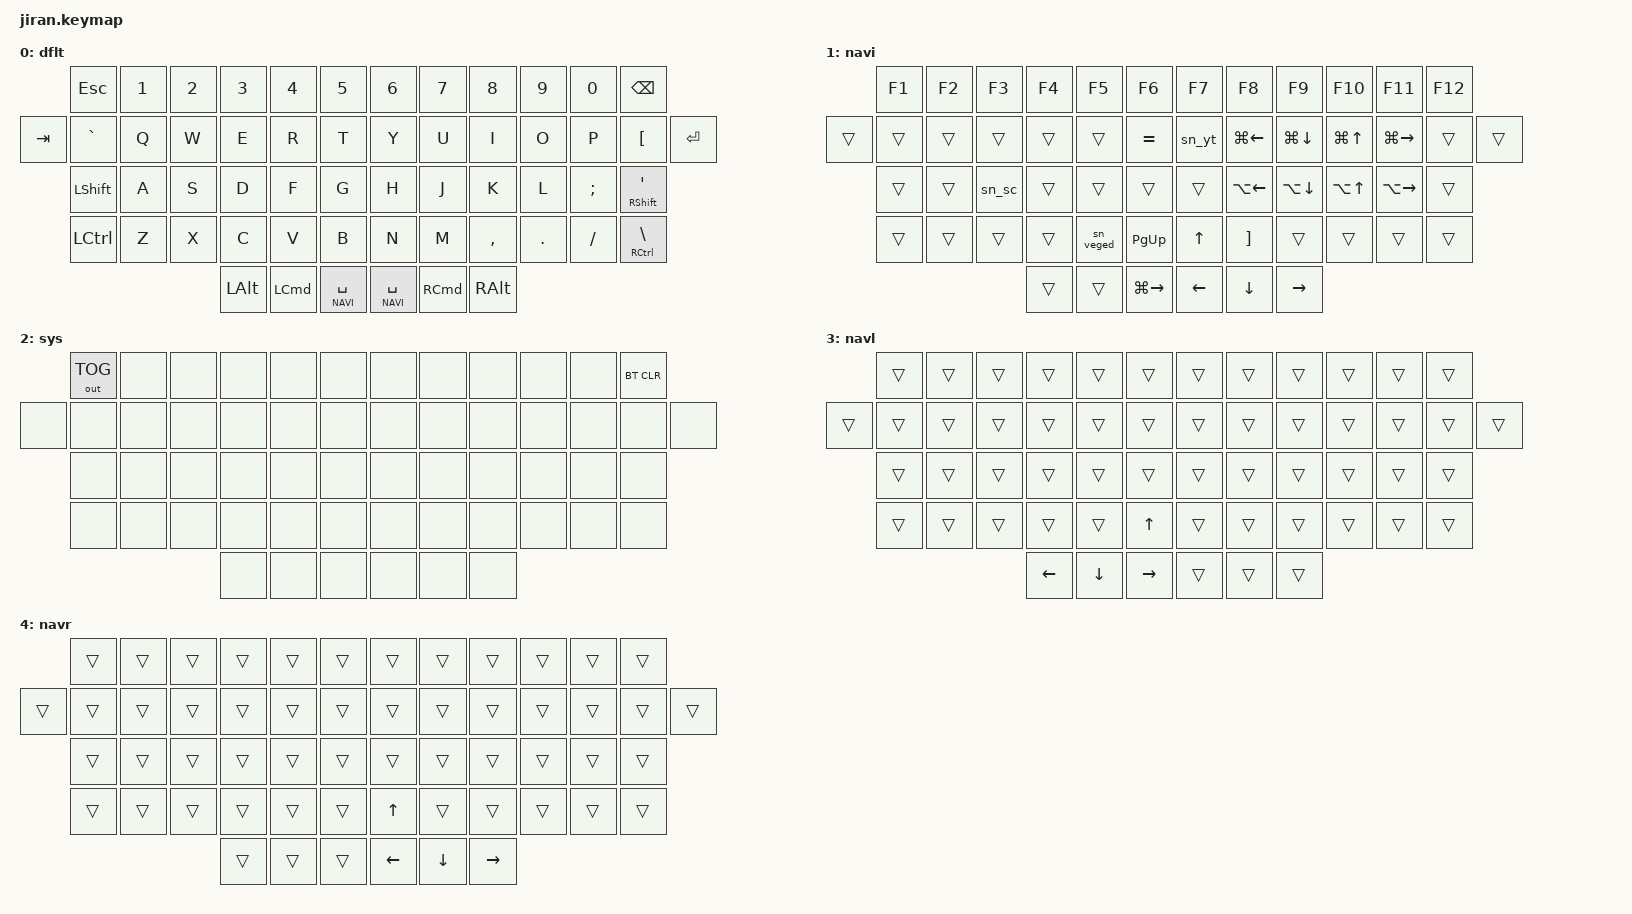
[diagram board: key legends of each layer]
/*
 * Copyright (c) 2021 The ZMK Contributors
 *
 * SPDX-License-Identifier: MIT
 */

#include <behaviors.dtsi>
#include <dt-bindings/zmk/keys.h>
#include <dt-bindings/zmk/bt.h>
#include <dt-bindings/zmk/outputs.h>
#include "zmk-helpers/helper.h"

#define ___ &trans

// Зажатый пробел для панорамы в графических редакторах: тап и сразу повторное
// зажатие в течение окна дают настоящий зажатый Space вместо слоя NAVI.
// Заодно появляется автоповтор пробела. Окно считается от нажатия до нажатия,
// якорь сбрасывается любой другой клавишей, поэтому печать между пробелами безопасна.
// 280 — по замерам: жест панорамы укладывается в ~300, а заход в слой
// сразу после пробела начинается с ~315; запас отдан слою — его сбой портит текст.
&lt {
    quick-tap-ms = <280>;
};

#define DFLT 0
#define NAVI 1
#define SYS  2
#define NAVL 3
#define NAVR 4

ZMK_COMBO(del, &kp DEL, 10 11, ALL)

ZMK_COMBO(en, &kp F13, 4 5, ALL)
ZMK_COMBO(ru, &kp F14, 6 7, ALL)
ZMK_COMBO(caps, &kp CAPS, 5 6, ALL)

ZMK_COMBO(voldn, &kp C_VOL_DN, 17 18, ALL)
ZMK_COMBO(volup, &kp C_VOL_UP, 19 20, ALL)
ZMK_COMBO(mute, &kp K_MUTE, 18 19, ALL)

ZMK_COMBO(bridn, &kp C_BRI_DN, 30 31, ALL)
ZMK_COMBO(briup, &kp C_BRI_UP, 32 33, ALL)

ZMK_COMBO(prev, &kp C_PREV, 42 43, ALL)
ZMK_COMBO(next, &kp C_NEXT, 44 45, ALL)
ZMK_COMBO(plpa, &kp C_PLAY_PAUSE, 43 44, ALL)

ZMK_COMBO(mic, &kp F15, 0 1, ALL)
ZMK_COMBO(cam, &kp F16, 0 13, ALL)
ZMK_COMBO(miccam, &kp F17, 0 1 13, ALL)

// Системный слой: держать Space + Tab + Enter, слой жив только пока держишь.
// Space можно отпустить сразу после срабатывания — дальше слой держат два мизинца,
// а нужную клавишу жмёшь свободным указательным.
// Комбо — momentary, а не toggle: застрять в SYS физически нельзя.
// Ограничено слоем NAVI, поэтому на дефолтном слое Tab и Enter не задерживаются.
ZMK_COMBO(sys, &mo SYS, 12 25, NAVI, 300)

// Тройной аккорд кластера большого пальца (пробел+⌘+⌥ одной половинки)
// защёлкивает на ней стрелочный режим, тот же аккорд снимает.
// Окно 50 мс: три пальца жмут одновременно, а длиннее нельзя — позиции
// участвуют в комбо, и окно задерживает их одиночные нажатия (⌘-клик!).
// При уже зажатом пробеле аккорд не собирается: его нажатие старее окна.
ZMK_COMBO(navl, &tog NAVL, 50 51 52, ALL, 50)
ZMK_COMBO(navr, &tog NAVR, 53 54 55, ALL, 50)

ZMK_COMBO(nhome, &kp LG(LEFT), 53 54, NAVI)
ZMK_COMBO(nend, &kp LG(RIGHT), 54 55, NAVI)
ZMK_COMBO(npgup, &kp PG_UP, 44 53, NAVI)
ZMK_COMBO(npgdn, &kp PG_DN, 44 55, NAVI)

// Сниппеты: держать Space (NAVI) + буква-мнемоника. Макрос сам ставит EN (F13) и оставляет её.
// 40 мс — измеренная смена раскладки (11–23 мс) с запасом на интервал BLE.
// wait 10 между буквами: при 0 сдвоенные буквы слипаются.
#define SNIPPET(name, keys) \
    ZMK_MACRO(name, tap-ms = <5>; \
        bindings = <&macro_wait_time 40 &kp F13 &macro_wait_time 10 keys>;)

#define V_DOT BSLH  // в раскладке vgd точка живёт на клавише «\»

SNIPPET(sn_veged, &kp V &kp E &kp G &kp E &kp D)
SNIPPET(sn_sc,    &kp LS(S) &kp O &kp U &kp R &kp C &kp E &kp LS(C) &kp R &kp A &kp F &kp T)
SNIPPET(sn_yt,    &kp Y &kp A &kp N &kp D &kp E &kp X &kp MINUS &kp T &kp E &kp A &kp M &kp V_DOT &kp R &kp U)

ZMK_LAYER(dflt,
//               ╭─────(0)─────┬─────(1)─────┬─────(2)─────┬─────(3)─────┬─────(4)─────┬─────(5)─────╮   ╭─────(6)─────┬─────(7)─────┬─────(8)─────┬─────(9)─────┬─────(10)────┬─────(11)────╮
                   &kp ESC       &kp N1        &kp N2        &kp N3        &kp N4        &kp N5            &kp N6        &kp N7        &kp N8        &kp N9        &kp N0        &kp BSPC
// ╭─────(12)────┼─────(13)────┼─────(14)────┼─────(15)────┼─────(16)────┼─────(17)────┼─────(18)────┤   ├─────(19)────┼─────(20)────┼─────(21)────┼─────(22)────┼─────(23)────┼─────(24)────┼─────(25)────╮
     &kp TAB       &kp GRAVE     &kp Q         &kp W         &kp E         &kp R         &kp T             &kp Y         &kp U         &kp I         &kp O         &kp P         &kp LBKT      &kp RET
// ╰─────────────┼─────(26)────┼─────(27)────┼─────(28)────┼─────(29)────┼─────(30)────┼─────(31)────┤   ├─────(32)────┼─────(33)────┼─────(34)────┼─────(35)────┼─────(36)────┼─────(37)────┼─────────────╯
                   &kp LSHFT     &kp A         &kp S         &kp D         &kp F         &kp G             &kp H         &kp J         &kp K         &kp L         &kp SEMI     &mt RSHIFT SQT
//               ├─────(38)────┼─────(39)────┼─────(40)────┼─────(41)────┼─────(42)────┼─────(43)────┤   ├─────(44)────┼─────(45)────┼─────(46)────┼─────(47)────┼─────(48)────┼─────(49)────┤
                   &kp LCTRL     &kp Z         &kp X         &kp C         &kp V         &kp B             &kp N         &kp M         &kp COMMA     &kp DOT       &kp FSLH     &mt RCTRL BSLH
//               ╰─────────────┴─────────────┴─────────────┼─────(50)────┼─────(51)────┼─────(52)────┤   ├─────(53)────┼─────(54)────┼─────(55)────┼─────────────┴─────────────┴─────────────╯
                                                             &kp LALT      &kp LCMD    &lt NAVI SPACE    &lt NAVI SPACE  &kp RCMD      &kp RALT
//                                                         ╰─────────────┴─────────────┴─────────────╯   ╰─────────────┴─────────────┴─────────────╯
)

// Левые ⌥/⌘ на NAVI остаются собой: пробел держит большой палец, ⌘/⌥ жмутся
// указательным и средним — так работают сочетания мод+стрелки.
// Прыжки — под лежащими пальцами правой руки. Колонки повторяют прежнюю раскладку
// стрелок J K L ; = ← ↓ ↑ →, ряд задаёт модификатор:
//   домашний J K L ; — ⌥: слово назад, абзац вниз, абзац вверх, слово вперёд
//   верхний  U I O P — ⌘: начало строки, конец документа, начало документа, конец строки
// Удаления (⌥⌫, ⌘⌫) сюда не кладём: они набираются на базовом слое тем же хватом.
// Модификаторы вшиты в клавишу, физический ⇧ с мизинца складывается с ними:
// выделение — это «пробел + ⇧ + клавиша», слева заняты только большой и мизинец.
// HOME/END намеренно нет: на macOS в нативных полях они лишь прокручивают документ,
// курсор не двигают. Универсальная идиома — ⌘←/⌘→, они же в комбо на больших пальцах.
ZMK_LAYER(navi,
//               ╭─────(0)─────┬─────(1)─────┬─────(2)─────┬─────(3)─────┬─────(4)─────┬─────(5)─────╮   ╭─────(6)─────┬─────(7)─────┬─────(8)─────┬─────(9)─────┬─────(10)────┬─────(11)────╮
                   &kp F1        &kp F2        &kp F3        &kp F4        &kp F5        &kp F6            &kp F7        &kp F8        &kp F9        &kp F10       &kp F11       &kp F12
// ╭─────(12)────┼─────(13)────┼─────(14)────┼─────(15)────┼─────(16)────┼─────(17)────┼─────(18)────┤   ├─────(19)────┼─────(20)────┼─────(21)────┼─────(22)────┼─────(23)────┼─────(24)────┼─────(25)────╮
     ___           ___           ___           ___           ___           ___           &kp EQUAL         &sn_yt        &kp LG(LEFT)  &kp LG(DOWN)  &kp LG(UP)    &kp LG(RIGHT) ___           ___
// ╰─────────────┼─────(26)────┼─────(27)────┼─────(28)────┼─────(29)────┼─────(30)────┼─────(31)────┤   ├─────(32)────┼─────(33)────┼─────(34)────┼─────(35)────┼─────(36)────┼─────(37)────┼─────────────╯
                   ___           ___           &sn_sc        ___           ___           ___               ___           &kp LA(LEFT)  &kp LA(DOWN)  &kp LA(UP)    &kp LA(RIGHT) ___
//               ├─────(38)────┼─────(39)────┼─────(40)────┼─────(41)────┼─────(42)────┼─────(43)────┤   ├─────(44)────┼─────(45)────┼─────(46)────┼─────(47)────┼─────(48)────┼─────(49)────┤
                   ___           ___           ___           ___           &sn_veged     &kp PG_UP         &kp UP        &kp RBKT      ___           ___           ___           ___
//               ╰─────────────┴─────────────┴─────────────┼─────(50)────┼─────(51)────┼─────(52)────┤   ├─────(53)────┼─────(54)────┼─────(55)────┼─────────────┴─────────────┴─────────────╯
                                                             ___           ___           &kp LG(RIGHT)     &kp LEFT      &kp DOWN      &kp RIGHT
//                                                         ╰─────────────┴─────────────┴─────────────╯   ╰─────────────┴─────────────┴─────────────╯
)

// Системный слой: только то, у чего нет физического аналога.
// &bootloader и &sys_reset сюда не кладём — их полностью закрывает кнопка reset на плате
// (даблтап = bootloader, одиночный = ресет), причём для каждой половинки отдельно.
// &out OUT_TOG нужен не для «переключиться на шнурок» (это ZMK делает сам), а для обратного:
// кабель воткнут ради зарядки в чужую машину, а печатать надо по BLE. Выбор живёт в settings.
// Незанятое — &none, а не &trans: случайной клавишей сюда не попасть.
ZMK_LAYER(sys,
//               ╭─────(0)─────┬─────(1)─────┬─────(2)─────┬─────(3)─────┬─────(4)─────┬─────(5)─────╮   ╭─────(6)─────┬─────(7)─────┬─────(8)─────┬─────(9)─────┬─────(10)────┬─────(11)────╮
//                Esc=USB/BLE  ┆                                                                                                                                            ┆  Bspc=стереть пару
                   &out OUT_TOG  &none         &none         &none         &none         &none             &none         &none         &none         &none         &none      &bt BT_CLR
// ╭─────(12)────┼─────(13)────┼─────(14)────┼─────(15)────┼─────(16)────┼─────(17)────┼─────(18)────┤   ├─────(19)────┼─────(20)────┼─────(21)────┼─────(22)────┼─────(23)────┼─────(24)────┼─────(25)────╮
     &none         &none         &none         &none         &none         &none         &none             &none         &none         &none         &none         &none         &none         &none
// ╰─────────────┼─────(26)────┼─────(27)────┼─────(28)────┼─────(29)────┼─────(30)────┼─────(31)────┤   ├─────(32)────┼─────(33)────┼─────(34)────┼─────(35)────┼─────(36)────┼─────(37)────┼─────────────╯
                   &none         &none         &none         &none         &none         &none             &none         &none         &none         &none         &none         &none
//               ├─────(38)────┼─────(39)────┼─────(40)────┼─────(41)────┼─────(42)────┼─────(43)────┤   ├─────(44)────┼─────(45)────┼─────(46)────┼─────(47)────┼─────(48)────┼─────(49)────┤
                   &none         &none         &none         &none         &none         &none             &none         &none         &none         &none         &none         &none
//               ╰─────────────┴─────────────┴─────────────┼─────(50)────┼─────(51)────┼─────(52)────┤   ├─────(53)────┼─────(54)────┼─────(55)────┼─────────────┴─────────────┴─────────────╯
                                                             &none         &none         &none             &none         &none         &none
//                                                         ╰─────────────┴─────────────┴─────────────╯   ╰─────────────┴─────────────┴─────────────╯
)

// Защёлкнутые стрелочные половинки (тройной аккорд большого кластера):
// только стрелки, остальное прозрачно — вторая половинка печатает как обычно,
// её пробел и зажатый NAVI продолжают работать. Раскладка стрелок зеркалит
// правый кластер NAVI: LEFT/DOWN/RIGHT на больших, UP на внутреннем указательном.
ZMK_LAYER(navl,
//               ╭─────(0)─────┬─────(1)─────┬─────(2)─────┬─────(3)─────┬─────(4)─────┬─────(5)─────╮   ╭─────(6)─────┬─────(7)─────┬─────(8)─────┬─────(9)─────┬─────(10)────┬─────(11)────╮
                   ___           ___           ___           ___           ___           ___               ___           ___           ___           ___           ___           ___
// ╭─────(12)────┼─────(13)────┼─────(14)────┼─────(15)────┼─────(16)────┼─────(17)────┼─────(18)────┤   ├─────(19)────┼─────(20)────┼─────(21)────┼─────(22)────┼─────(23)────┼─────(24)────┼─────(25)────╮
     ___           ___           ___           ___           ___           ___           ___               ___           ___           ___           ___           ___           ___           ___
// ╰─────────────┼─────(26)────┼─────(27)────┼─────(28)────┼─────(29)────┼─────(30)────┼─────(31)────┤   ├─────(32)────┼─────(33)────┼─────(34)────┼─────(35)────┼─────(36)────┼─────(37)────┼─────────────╯
                   ___           ___           ___           ___           ___           ___               ___           ___           ___           ___           ___           ___
//               ├─────(38)────┼─────(39)────┼─────(40)────┼─────(41)────┼─────(42)────┼─────(43)────┤   ├─────(44)────┼─────(45)────┼─────(46)────┼─────(47)────┼─────(48)────┼─────(49)────┤
                   ___           ___           ___           ___           ___           &kp UP            ___           ___           ___           ___           ___           ___
//               ╰─────────────┴─────────────┴─────────────┼─────(50)────┼─────(51)────┼─────(52)────┤   ├─────(53)────┼─────(54)────┼─────(55)────┼─────────────┴─────────────┴─────────────╯
                                                             &kp LEFT      &kp DOWN      &kp RIGHT         ___           ___           ___
//                                                         ╰─────────────┴─────────────┴─────────────╯   ╰─────────────┴─────────────┴─────────────╯
)

ZMK_LAYER(navr,
//               ╭─────(0)─────┬─────(1)─────┬─────(2)─────┬─────(3)─────┬─────(4)─────┬─────(5)─────╮   ╭─────(6)─────┬─────(7)─────┬─────(8)─────┬─────(9)─────┬─────(10)────┬─────(11)────╮
                   ___           ___           ___           ___           ___           ___               ___           ___           ___           ___           ___           ___
// ╭─────(12)────┼─────(13)────┼─────(14)────┼─────(15)────┼─────(16)────┼─────(17)────┼─────(18)────┤   ├─────(19)────┼─────(20)────┼─────(21)────┼─────(22)────┼─────(23)────┼─────(24)────┼─────(25)────╮
     ___           ___           ___           ___           ___           ___           ___               ___           ___           ___           ___           ___           ___           ___
// ╰─────────────┼─────(26)────┼─────(27)────┼─────(28)────┼─────(29)────┼─────(30)────┼─────(31)────┤   ├─────(32)────┼─────(33)────┼─────(34)────┼─────(35)────┼─────(36)────┼─────(37)────┼─────────────╯
                   ___           ___           ___           ___           ___           ___               ___           ___           ___           ___           ___           ___
//               ├─────(38)────┼─────(39)────┼─────(40)────┼─────(41)────┼─────(42)────┼─────(43)────┤   ├─────(44)────┼─────(45)────┼─────(46)────┼─────(47)────┼─────(48)────┼─────(49)────┤
                   ___           ___           ___           ___           ___           ___               &kp UP        ___           ___           ___           ___           ___
//               ╰─────────────┴─────────────┴─────────────┼─────(50)────┼─────(51)────┼─────(52)────┤   ├─────(53)────┼─────(54)────┼─────(55)────┼─────────────┴─────────────┴─────────────╯
                                                             ___           ___           ___               &kp LEFT      &kp DOWN      &kp RIGHT
//                                                         ╰─────────────┴─────────────┴─────────────╯   ╰─────────────┴─────────────┴─────────────╯
)
